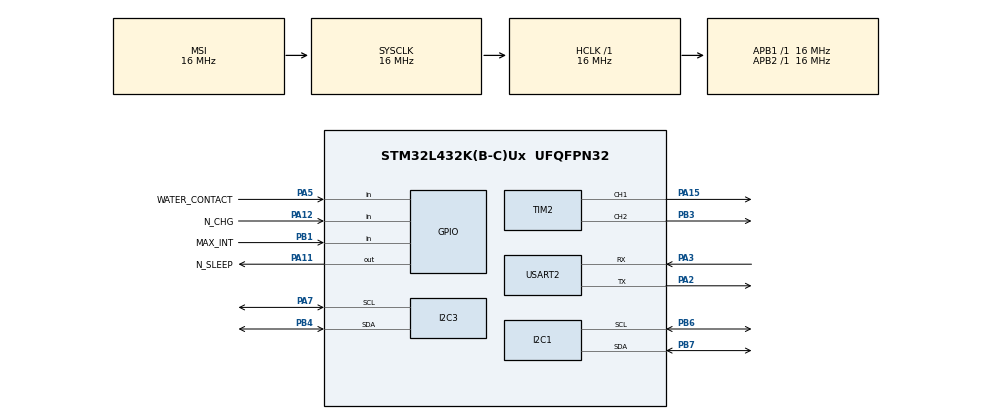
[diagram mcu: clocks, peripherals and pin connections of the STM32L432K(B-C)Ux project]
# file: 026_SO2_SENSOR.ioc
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Dma.I2C1_RX.2.Direction=DMA_PERIPH_TO_MEMORY
Dma.I2C1_RX.2.Instance=DMA2_Channel6
Dma.I2C1_RX.2.MemDataAlignment=DMA_MDATAALIGN_BYTE
Dma.I2C1_RX.2.MemInc=DMA_MINC_ENABLE
Dma.I2C1_RX.2.Mode=DMA_NORMAL
Dma.I2C1_RX.2.PeriphDataAlignment=DMA_PDATAALIGN_BYTE
Dma.I2C1_RX.2.PeriphInc=DMA_PINC_DISABLE
Dma.I2C1_RX.2.Priority=DMA_PRIORITY_LOW
Dma.I2C1_TX.3.Direction=DMA_MEMORY_TO_PERIPH
Dma.I2C1_TX.3.Instance=DMA1_Channel6
Dma.I2C1_TX.3.MemDataAlignment=DMA_MDATAALIGN_BYTE
Dma.I2C1_TX.3.MemInc=DMA_MINC_ENABLE
Dma.I2C1_TX.3.Mode=DMA_NORMAL
Dma.I2C1_TX.3.PeriphDataAlignment=DMA_PDATAALIGN_BYTE
Dma.I2C1_TX.3.PeriphInc=DMA_PINC_DISABLE
Dma.I2C1_TX.3.Priority=DMA_PRIORITY_LOW
Dma.I2C3_RX.0.Direction=DMA_PERIPH_TO_MEMORY
Dma.I2C3_RX.0.Instance=DMA1_Channel3
Dma.I2C3_RX.0.MemDataAlignment=DMA_MDATAALIGN_BYTE
Dma.I2C3_RX.0.MemInc=DMA_MINC_ENABLE
Dma.I2C3_RX.0.Mode=DMA_NORMAL
Dma.I2C3_RX.0.PeriphDataAlignment=DMA_PDATAALIGN_BYTE
Dma.I2C3_RX.0.PeriphInc=DMA_PINC_DISABLE
Dma.I2C3_RX.0.Priority=DMA_PRIORITY_LOW
Dma.Request0=I2C3_RX
Dma.Request1=TIM2_CH2/CH4
Dma.Request2=I2C1_RX
Dma.Request3=I2C1_TX
Dma.TIM2_CH2/CH4.1.Direction=DMA_PERIPH_TO_MEMORY
Dma.TIM2_CH2/CH4.1.Instance=DMA1_Channel7
Dma.TIM2_CH2/CH4.1.MemDataAlignment=DMA_MDATAALIGN_WORD
Dma.TIM2_CH2/CH4.1.MemInc=DMA_MINC_ENABLE
Dma.TIM2_CH2/CH4.1.Mode=DMA_CIRCULAR
Dma.TIM2_CH2/CH4.1.PeriphDataAlignment=DMA_PDATAALIGN_WORD
Dma.TIM2_CH2/CH4.1.PeriphInc=DMA_PINC_DISABLE
Dma.TIM2_CH2/CH4.1.Priority=DMA_PRIORITY_LOW
I2C1.I2C_Fall_Time=0
I2C1.I2C_Rise_Time=0
I2C1.OwnAddress=((PC_get_I2C_address() << 1)|I2C_SLAVE_ADDRESS_MODIFICATION_VALUE)
I2C1.Timing=0x00303D5B
I2C3.Timing=0x00503D58
Mcu.Family=STM32L4
Mcu.Name=STM32L432K(B-C)Ux
Mcu.Package=UFQFPN32
NVIC.DMA1_Channel3_IRQn=true\:0\:0\:true\:false\:true\:false\:true\:true
NVIC.DMA1_Channel6_IRQn=true\:3\:0\:true\:false\:true\:false\:true\:true
NVIC.DMA1_Channel7_IRQn=true\:0\:0\:false\:false\:true\:false\:true\:true
NVIC.DMA2_Channel6_IRQn=true\:3\:0\:true\:false\:true\:false\:true\:true
NVIC.I2C1_ER_IRQn=true\:3\:0\:true\:false\:true\:true\:true\:true
NVIC.I2C1_EV_IRQn=true\:3\:0\:true\:false\:true\:true\:true\:true
NVIC.I2C3_ER_IRQn=true\:0\:0\:false\:false\:true\:true\:true\:true
NVIC.I2C3_EV_IRQn=true\:0\:0\:false\:false\:true\:true\:true\:true
NVIC.PriorityGroup=NVIC_PRIORITYGROUP_4
NVIC.TIM1_BRK_TIM15_IRQn=true\:0\:0\:false\:false\:true\:true\:true\:true
PA11.GPIO_Label=N_SLEEP
PA11.Signal=GPIO_Output
PA12.GPIO_Label=N_CHG
PA12.Signal=GPIO_Input
PA15\ (JTDI).Signal=S_TIM2_CH1
PA2.Mode=Asynchronous
PA2.Signal=USART2_TX
PA3.Mode=Asynchronous
PA3.Signal=USART2_RX
PA5.GPIO_Label=WATER_CONTACT
PA5.Signal=GPIO_Input
PA7.Mode=I2C
PA7.Signal=I2C3_SCL
PB1.GPIO_Label=MAX_INT
PB1.GPIO_PuPd=GPIO_PULLUP
PB1.Signal=GPIO_Input
PB3\ (JTDO-TRACESWO).Signal=S_TIM2_CH2
PB4\ (NJTRST).Mode=I2C
PB4\ (NJTRST).Signal=I2C3_SDA
PB6.Mode=I2C
PB6.Signal=I2C1_SCL
PB7.Mode=I2C
PB7.Signal=I2C1_SDA
PC14-OSC32_IN\ (PC14).Mode=LSE-External-Oscillator
PC14-OSC32_IN\ (PC14).Signal=RCC_OSC32_IN
PC15-OSC32_OUT\ (PC15).Mode=LSE-External-Oscillator
PC15-OSC32_OUT\ (PC15).Signal=RCC_OSC32_OUT
ProjectManager.HeapSize=0x200
ProjectManager.StackSize=0x400
ProjectManager.TargetToolchain=STM32CubeIDE
RCC.ADCFreq_Value=64000000
RCC.AHBFreq_Value=16000000
RCC.APB1Freq_Value=16000000
RCC.APB1TimFreq_Value=16000000
RCC.APB2Freq_Value=16000000
RCC.APB2TimFreq_Value=16000000
RCC.CortexFreq_Value=16000000
RCC.HCLKFreq_Value=16000000
RCC.HSE_VALUE=8000000
RCC.HSI48_VALUE=48000000
RCC.HSI_VALUE=16000000
RCC.MSIClockRange=RCC_MSIRANGE_8
RCC.MSI_VALUE=16000000
RCC.SYSCLKFreq_VALUE=16000000
RCC.USBFreq_Value=64000000
RCC.VCOOutputFreq_Value=128000000
SH.S_TIM2_CH1.0=TIM2_CH1,PWM Generation1 CH1
SH.S_TIM2_CH2.0=TIM2_CH2,PWM Generation2 CH2
TIM15.Period=TIMER_PERIOD_125kHz*NR_OF_PERIODS-1
TIM2.Channel-PWM\ Generation1\ CH1=TIM_CHANNEL_1
TIM2.Channel-PWM\ Generation2\ CH2=TIM_CHANNEL_2
TIM2.OCMode_PWM-PWM\ Generation2\ CH2=TIM_OCMODE_PWM1
TIM2.Period=TIMER_PERIOD_125kHz - 1
TIM2.Pulse-PWM\ Generation2\ CH2=TIMER_PERIOD_125kHz/2
USART2.VirtualMode-Asynchronous=VM_ASYNC
VP_RTC_VS_RTC_Activate.Mode=RTC_Enabled
VP_RTC_VS_RTC_Calendar.Mode=RTC_Calendar
VP_TIM15_VS_ClockSourceINT.Mode=Internal
VP_TIM2_VS_ClockSourceINT.Mode=Internal
board=custom

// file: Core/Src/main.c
/* USER CODE BEGIN Header */
/**
  ******************************************************************************
  * @file           : main.c
  * @brief          : Main program body
  ******************************************************************************
  * @attention
  *
  * Copyright (c) 2026 STMicroelectronics.
  * All rights reserved.
  *
  * This software is licensed under terms that can be found in the LICENSE file
  * in the root directory of this software component.
  * If no LICENSE file comes with this software, it is provided AS-IS.
  *
  ******************************************************************************
  */
/* USER CODE END Header */
#include "main.h"

/* USER CODE BEGIN Includes */
#include "MAX30112.h"
#include <stdio.h>
#include "hardware_defines.h"
#include "LF_transmit.h"
#include "rtc_conversions.h"
#include "pec.h"
/* USER CODE END Includes */

I2C_HandleTypeDef hi2c1;
I2C_HandleTypeDef hi2c3;
DMA_HandleTypeDef hdma_i2c3_rx;

RTC_HandleTypeDef hrtc;

TIM_HandleTypeDef htim2;
TIM_HandleTypeDef htim15;
DMA_HandleTypeDef hdma_tim2_ch2_ch4;

UART_HandleTypeDef huart2;

void SystemClock_Config(void);
static void MX_GPIO_Init(void);
static void MX_DMA_Init(void);
static void MX_I2C1_Init(void);
static void MX_I2C3_Init(void);
static void MX_RTC_Init(void);
static void MX_USART2_UART_Init(void);
static void MX_TIM2_Init(void);
static void MX_TIM15_Init(void);

/* USER CODE BEGIN 0 */
int _write(int fd, char* ptr, int len)
{

    HAL_UART_Transmit(&huart2, (uint8_t*) ptr, len, 100);
    return len;
}

uint8_t _is_charging(void)
{
    return (HAL_GPIO_ReadPin(N_CHG_GPIO_Port, N_CHG_Pin) == 0);
}

/* USER CODE END 0 */

int main(void)
{

  /* MCU Configuration--------------------------------------------------------*/

  /* Reset of all peripherals, Initializes the Flash interface and the Systick. */
  HAL_Init();

  /* Configure the system clock */
  SystemClock_Config();

  /* Initialize all configured peripherals */
  MX_GPIO_Init();
  MX_DMA_Init();
  MX_I2C1_Init();
  MX_I2C3_Init();
  MX_RTC_Init();
  MX_USART2_UART_Init();
  MX_TIM2_Init();
  MX_TIM15_Init();
  /* USER CODE BEGIN 2 */

  uint32_t rtc = RTC_get_2021_utc0_timestamp();

	HAL_Delay(50);

	printf("Hello SO2 Module\n");

	if (max30112_init(&hi2c3)) {
		printf("Error init MAX30112\n");
	} else {
		printf("MAX30112 Init OK\n");
	}

	uint32_t red, ir;
	uint32_t red_av, ir_av;
	uint8_t i = 0;
	uint8_t reset_filter = 1;

#define AVERAGE	20

	float red_ac, ir_ac, red_ac_old, ir_ac_old;
	uint16_t x = 0;
	uint32_t t = 0;

	/* I2C slave initialization */
//	I2CS_i2c_slave_init_handle(&hi2c1);

	while (1) {
		if (HAL_GPIO_ReadPin(MAX_INT_GPIO_Port, MAX_INT_Pin) == 0) {
			t += 20; // ms

			max30112_read_data_dma2(&red, &ir);
			i++;
			i &= 0xF;

			if ((t < 10000) && (i == 0xA))
				reset_filter = adjust_LED_brightness(0)
						|| adjust_LED_brightness(1);

			/*

			 if ((i==0x7)&&(reset_filter))
			 {
			 red_av=red;
			 ir_av=ir;
			 reset_filter=0;
			 } else
			 {
			 red_av=red_av*AVERAGE+red;
			 red_av/=AVERAGE+1;
			 ir_av=ir_av*AVERAGE+ir;
			 ir_av/=AVERAGE+1;

			 }
			 red_ac=(float)red/(float)red_av;
			 ir_ac=(float)ir/(float)ir_av;
			 red_ac--;
			 ir_ac--;
			 red_ac*=5000;
			 ir_ac*=5000;
			 red_ac+=140;
			 ir_ac+=100;
			 */

			max30112_read_data_dma1();

			//if (i%8==0) printf("%0.2f %0.2f %0.2f\n", t, red_ac, ir_ac);
			printf("{%d,%d,%d,%d,%d},\n", t, red, ir, get_current(0), get_current(1));

			/*
			 GUI_SetColor(GUI_BLACK);
			 GUI_DrawLine(x, GRAPH_START_Y0, x, GRAPH_START_Y0+GRAPH_SPAN-1);
			 GUI_SetColor(GUI_BLUE);
			 GUI_DrawLine(x-1, ir_ac_old, x, ir_ac);

			 //GUI_DrawPoint(x,ir_ac+140);
			 GUI_SetColor(GUI_RED);
			 GUI_DrawLine(x-1, red_ac_old, x, red_ac);
			 GUI_SetColor(GUI_YELLOW);
			 GUI_DrawLine(x+1, GRAPH_START_Y0, x+1, GRAPH_START_Y0+GRAPH_SPAN-1);

			 x++;
			 if (x==GRAPH_START_X0+ GRAPH_POINTS) x=0;
			 */

			red_ac_old = red_ac;
			ir_ac_old = ir_ac;

		} //else printf("x");

		HAL_Delay(5);

		if(RTC_get_2021_utc0_timestamp() != rtc) {

			/* encode and send LF data */
			lf_data_t lfd = {0};
			uint8_t transmit[20] = { 0 };
			uint16_t len;

			lfd.type = LF_TYPE_SPO2_METER;
			lfd.lf_id = 69;
			lfd.spo2_meter.heart_rate_bpm = 1;
			lfd.spo2_meter.R = 2;
			lfd.spo2_meter.SpO2_perc = 3;
			lfd.spo2_meter.charging = _is_charging();

			HAL_GPIO_WritePin(N_SLEEP_GPIO_Port, N_SLEEP_Pin, 1);

			HAL_Delay(5);

			LF_encode_data(&lfd, transmit, &len);
			LF_transmit(transmit, len);

		    HAL_Delay(15);

		    if(LF_is_transmitting()) {
		    	LF_stop_transmission();
		    }

		    HAL_GPIO_WritePin(N_SLEEP_GPIO_Port, N_SLEEP_Pin, 0);

			rtc = RTC_get_2021_utc0_timestamp();

//			printf(".\n");
		}
	}

  /* USER CODE END 2 */

  /* Infinite loop */
	while (1) {

	}
}

void SystemClock_Config(void)
{
  RCC_OscInitTypeDef RCC_OscInitStruct = {0};
  RCC_ClkInitTypeDef RCC_ClkInitStruct = {0};

  /** Configure the main internal regulator output voltage
  */
  if (HAL_PWREx_ControlVoltageScaling(PWR_REGULATOR_VOLTAGE_SCALE1) != HAL_OK)
  {
    Error_Handler();
  }

  /** Configure LSE Drive Capability
  */
  HAL_PWR_EnableBkUpAccess();
  __HAL_RCC_LSEDRIVE_CONFIG(RCC_LSEDRIVE_LOW);

  /** Initializes the RCC Oscillators according to the specified parameters
  * in the RCC_OscInitTypeDef structure.
  */
  RCC_OscInitStruct.OscillatorType = RCC_OSCILLATORTYPE_LSI|RCC_OSCILLATORTYPE_LSE
                              |RCC_OSCILLATORTYPE_MSI;
  RCC_OscInitStruct.LSEState = RCC_LSE_ON;
  RCC_OscInitStruct.LSIState = RCC_LSI_ON;
  RCC_OscInitStruct.MSIState = RCC_MSI_ON;
  RCC_OscInitStruct.MSICalibrationValue = 0;
  RCC_OscInitStruct.MSIClockRange = RCC_MSIRANGE_8;
  RCC_OscInitStruct.PLL.PLLState = RCC_PLL_NONE;
  if (HAL_RCC_OscConfig(&RCC_OscInitStruct) != HAL_OK)
  {
    Error_Handler();
  }

  /** Initializes the CPU, AHB and APB buses clocks
  */
  RCC_ClkInitStruct.ClockType = RCC_CLOCKTYPE_HCLK|RCC_CLOCKTYPE_SYSCLK
                              |RCC_CLOCKTYPE_PCLK1|RCC_CLOCKTYPE_PCLK2;
  RCC_ClkInitStruct.SYSCLKSource = RCC_SYSCLKSOURCE_MSI;
  RCC_ClkInitStruct.AHBCLKDivider = RCC_SYSCLK_DIV1;
  RCC_ClkInitStruct.APB1CLKDivider = RCC_HCLK_DIV1;
  RCC_ClkInitStruct.APB2CLKDivider = RCC_HCLK_DIV1;

  if (HAL_RCC_ClockConfig(&RCC_ClkInitStruct, FLASH_LATENCY_0) != HAL_OK)
  {
    Error_Handler();
  }

  /** Enable MSI Auto calibration
  */
  HAL_RCCEx_EnableMSIPLLMode();
}

static void MX_I2C1_Init(void)
{

  hi2c1.Instance = I2C1;
  hi2c1.Init.Timing = 0x00503D58;
  hi2c1.Init.OwnAddress1 = 0;
  hi2c1.Init.AddressingMode = I2C_ADDRESSINGMODE_7BIT;
  hi2c1.Init.DualAddressMode = I2C_DUALADDRESS_DISABLE;
  hi2c1.Init.OwnAddress2 = 0;
  hi2c1.Init.OwnAddress2Masks = I2C_OA2_NOMASK;
  hi2c1.Init.GeneralCallMode = I2C_GENERALCALL_DISABLE;
  hi2c1.Init.NoStretchMode = I2C_NOSTRETCH_DISABLE;
  if (HAL_I2C_Init(&hi2c1) != HAL_OK)
  {
    Error_Handler();
  }

  /** Configure Analogue filter
  */
  if (HAL_I2CEx_ConfigAnalogFilter(&hi2c1, I2C_ANALOGFILTER_ENABLE) != HAL_OK)
  {
    Error_Handler();
  }

  /** Configure Digital filter
  */
  if (HAL_I2CEx_ConfigDigitalFilter(&hi2c1, 0) != HAL_OK)
  {
    Error_Handler();
  }

}

static void MX_I2C3_Init(void)
{

  hi2c3.Instance = I2C3;
  hi2c3.Init.Timing = 0x00503D58;
  hi2c3.Init.OwnAddress1 = 0;
  hi2c3.Init.AddressingMode = I2C_ADDRESSINGMODE_7BIT;
  hi2c3.Init.DualAddressMode = I2C_DUALADDRESS_DISABLE;
  hi2c3.Init.OwnAddress2 = 0;
  hi2c3.Init.OwnAddress2Masks = I2C_OA2_NOMASK;
  hi2c3.Init.GeneralCallMode = I2C_GENERALCALL_DISABLE;
  hi2c3.Init.NoStretchMode = I2C_NOSTRETCH_DISABLE;
  if (HAL_I2C_Init(&hi2c3) != HAL_OK)
  {
    Error_Handler();
  }

  /** Configure Analogue filter
  */
  if (HAL_I2CEx_ConfigAnalogFilter(&hi2c3, I2C_ANALOGFILTER_ENABLE) != HAL_OK)
  {
    Error_Handler();
  }

  /** Configure Digital filter
  */
  if (HAL_I2CEx_ConfigDigitalFilter(&hi2c3, 0) != HAL_OK)
  {
    Error_Handler();
  }

}

static void MX_RTC_Init(void)
{

  RTC_TimeTypeDef sTime = {0};
  RTC_DateTypeDef sDate = {0};

  /** Initialize RTC Only
  */
  hrtc.Instance = RTC;
  hrtc.Init.HourFormat = RTC_HOURFORMAT_24;
  hrtc.Init.AsynchPrediv = 127;
  hrtc.Init.SynchPrediv = 255;
  hrtc.Init.OutPut = RTC_OUTPUT_DISABLE;
  hrtc.Init.OutPutRemap = RTC_OUTPUT_REMAP_NONE;
  hrtc.Init.OutPutPolarity = RTC_OUTPUT_POLARITY_HIGH;
  hrtc.Init.OutPutType = RTC_OUTPUT_TYPE_OPENDRAIN;
  if (HAL_RTC_Init(&hrtc) != HAL_OK)
  {
    Error_Handler();
  }

  /** Initialize RTC and set the Time and Date
  */
  sTime.Hours = 0x0;
  sTime.Minutes = 0x0;
  sTime.Seconds = 0x0;
  sTime.DayLightSaving = RTC_DAYLIGHTSAVING_NONE;
  sTime.StoreOperation = RTC_STOREOPERATION_RESET;
  if (HAL_RTC_SetTime(&hrtc, &sTime, RTC_FORMAT_BCD) != HAL_OK)
  {
    Error_Handler();
  }
  sDate.WeekDay = RTC_WEEKDAY_MONDAY;
  sDate.Month = RTC_MONTH_JANUARY;
  sDate.Date = 0x1;
  sDate.Year = 0x0;

  if (HAL_RTC_SetDate(&hrtc, &sDate, RTC_FORMAT_BCD) != HAL_OK)
  {
    Error_Handler();
  }

}

static void MX_TIM2_Init(void)
{

  TIM_ClockConfigTypeDef sClockSourceConfig = {0};
  TIM_MasterConfigTypeDef sMasterConfig = {0};
  TIM_OC_InitTypeDef sConfigOC = {0};

  htim2.Instance = TIM2;
  htim2.Init.Prescaler = 0;
  htim2.Init.CounterMode = TIM_COUNTERMODE_UP;
  htim2.Init.Period = TIMER_PERIOD_125kHz - 1;
  htim2.Init.ClockDivision = TIM_CLOCKDIVISION_DIV1;
  htim2.Init.AutoReloadPreload = TIM_AUTORELOAD_PRELOAD_DISABLE;
  if (HAL_TIM_Base_Init(&htim2) != HAL_OK)
  {
    Error_Handler();
  }
  sClockSourceConfig.ClockSource = TIM_CLOCKSOURCE_INTERNAL;
  if (HAL_TIM_ConfigClockSource(&htim2, &sClockSourceConfig) != HAL_OK)
  {
    Error_Handler();
  }
  if (HAL_TIM_PWM_Init(&htim2) != HAL_OK)
  {
    Error_Handler();
  }
  sMasterConfig.MasterOutputTrigger = TIM_TRGO_RESET;
  sMasterConfig.MasterSlaveMode = TIM_MASTERSLAVEMODE_DISABLE;
  if (HAL_TIMEx_MasterConfigSynchronization(&htim2, &sMasterConfig) != HAL_OK)
  {
    Error_Handler();
  }
  sConfigOC.OCMode = TIM_OCMODE_PWM1;
  sConfigOC.Pulse = 0;
  sConfigOC.OCPolarity = TIM_OCPOLARITY_HIGH;
  sConfigOC.OCFastMode = TIM_OCFAST_DISABLE;
  if (HAL_TIM_PWM_ConfigChannel(&htim2, &sConfigOC, TIM_CHANNEL_1) != HAL_OK)
  {
    Error_Handler();
  }
  sConfigOC.Pulse = TIMER_PERIOD_125kHz/2;
  if (HAL_TIM_PWM_ConfigChannel(&htim2, &sConfigOC, TIM_CHANNEL_2) != HAL_OK)
  {
    Error_Handler();
  }
  HAL_TIM_MspPostInit(&htim2);

}

static void MX_TIM15_Init(void)
{

  TIM_ClockConfigTypeDef sClockSourceConfig = {0};
  TIM_MasterConfigTypeDef sMasterConfig = {0};

  htim15.Instance = TIM15;
  htim15.Init.Prescaler = 0;
  htim15.Init.CounterMode = TIM_COUNTERMODE_UP;
  htim15.Init.Period = TIMER_PERIOD_125kHz*NR_OF_PERIODS-1;
  htim15.Init.ClockDivision = TIM_CLOCKDIVISION_DIV1;
  htim15.Init.RepetitionCounter = 0;
  htim15.Init.AutoReloadPreload = TIM_AUTORELOAD_PRELOAD_DISABLE;
  if (HAL_TIM_Base_Init(&htim15) != HAL_OK)
  {
    Error_Handler();
  }
  sClockSourceConfig.ClockSource = TIM_CLOCKSOURCE_INTERNAL;
  if (HAL_TIM_ConfigClockSource(&htim15, &sClockSourceConfig) != HAL_OK)
  {
    Error_Handler();
  }
  sMasterConfig.MasterOutputTrigger = TIM_TRGO_RESET;
  sMasterConfig.MasterSlaveMode = TIM_MASTERSLAVEMODE_DISABLE;
  if (HAL_TIMEx_MasterConfigSynchronization(&htim15, &sMasterConfig) != HAL_OK)
  {
    Error_Handler();
  }

}

static void MX_USART2_UART_Init(void)
{

  huart2.Instance = USART2;
  huart2.Init.BaudRate = 115200;
  huart2.Init.WordLength = UART_WORDLENGTH_8B;
  huart2.Init.StopBits = UART_STOPBITS_1;
  huart2.Init.Parity = UART_PARITY_NONE;
  huart2.Init.Mode = UART_MODE_TX_RX;
  huart2.Init.HwFlowCtl = UART_HWCONTROL_NONE;
  huart2.Init.OverSampling = UART_OVERSAMPLING_16;
  huart2.Init.OneBitSampling = UART_ONE_BIT_SAMPLE_DISABLE;
  huart2.AdvancedInit.AdvFeatureInit = UART_ADVFEATURE_NO_INIT;
  if (HAL_UART_Init(&huart2) != HAL_OK)
  {
    Error_Handler();
  }

}

static void MX_DMA_Init(void)
{

  /* DMA controller clock enable */
  __HAL_RCC_DMA1_CLK_ENABLE();

  /* DMA interrupt init */
  /* DMA1_Channel3_IRQn interrupt configuration */
  HAL_NVIC_SetPriority(DMA1_Channel3_IRQn, 0, 0);
  HAL_NVIC_EnableIRQ(DMA1_Channel3_IRQn);
  /* DMA1_Channel7_IRQn interrupt configuration */
  HAL_NVIC_SetPriority(DMA1_Channel7_IRQn, 0, 0);
  HAL_NVIC_EnableIRQ(DMA1_Channel7_IRQn);

}

static void MX_GPIO_Init(void)
{
  GPIO_InitTypeDef GPIO_InitStruct = {0};

  /* GPIO Ports Clock Enable */
  __HAL_RCC_GPIOC_CLK_ENABLE();
  __HAL_RCC_GPIOA_CLK_ENABLE();
  __HAL_RCC_GPIOB_CLK_ENABLE();

  /*Configure GPIO pin Output Level */
  HAL_GPIO_WritePin(N_SLEEP_GPIO_Port, N_SLEEP_Pin, GPIO_PIN_RESET);

  /*Configure GPIO pins : WATER_CONTACT_Pin N_CHG_Pin */
  GPIO_InitStruct.Pin = WATER_CONTACT_Pin|N_CHG_Pin;
  GPIO_InitStruct.Mode = GPIO_MODE_INPUT;
  GPIO_InitStruct.Pull = GPIO_NOPULL;
  HAL_GPIO_Init(GPIOA, &GPIO_InitStruct);

  /*Configure GPIO pin : MAX_INT_Pin */
  GPIO_InitStruct.Pin = MAX_INT_Pin;
  GPIO_InitStruct.Mode = GPIO_MODE_INPUT;
  GPIO_InitStruct.Pull = GPIO_PULLUP;
  HAL_GPIO_Init(MAX_INT_GPIO_Port, &GPIO_InitStruct);

  /*Configure GPIO pin : N_SLEEP_Pin */
  GPIO_InitStruct.Pin = N_SLEEP_Pin;
  GPIO_InitStruct.Mode = GPIO_MODE_OUTPUT_PP;
  GPIO_InitStruct.Pull = GPIO_NOPULL;
  GPIO_InitStruct.Speed = GPIO_SPEED_FREQ_LOW;
  HAL_GPIO_Init(N_SLEEP_GPIO_Port, &GPIO_InitStruct);

}

void Error_Handler(void)
{
  __disable_irq();
  while (1)
  {
  }
}
